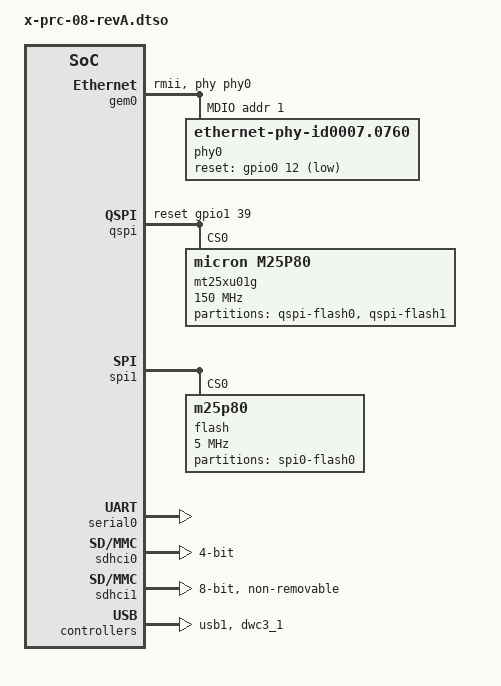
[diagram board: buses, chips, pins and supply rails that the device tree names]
// SPDX-License-Identifier: GPL-2.0
/*
 * dts file for Xilinx ZynqMP VN-P-B2197 (Tenzing2) X-PRC-08 RevA
 *
 * (C) Copyright 2022-2023, Advanced Micro Devices, Inc.
 *
 * Michal Simek <michal.simek@amd.com>
 */

/dts-v1/;
/plugin/;

#include <dt-bindings/gpio/gpio.h>

&{/} {
	model = "X-PRC-08 revA";
};

/* LPD_MIO0-12, mdio LPD_MIO24-25 */
&gem0 {
	status = "okay";
	phy-handle = <&phy0>;
	phy-mode = "rmii";
	mdio1: mdio {
		#address-cells = <1>;
		#size-cells = <0>;

		phy0: ethernet-phy@1 { /* u37 VSC8540 */
			#phy-cells = <1>;
			compatible = "ethernet-phy-id0007.0760";
			reg = <1>;
			reset-gpios = <&gpio0 12 GPIO_ACTIVE_LOW>;
		};
	};
};

/* u1, u2, u3, u4 - 4x MT25QU01GBBBB, PMC_MIO0-5,7-12 */
&qspi {
	status = "okay";
	reset-gpios = <&gpio1 39 GPIO_ACTIVE_HIGH>;
	reset-names = "qspi";
	#address-cells = <1>;
	#size-cells = <0>;
	num-cs = <2>;

	mt25xu01g: flash@0 {
		compatible = "micron,m25p80", "jedec,spi-nor";
		reg = <0>, <1>;
		parallel-memories = /bits/ 64 <0x8000000 0x8000000>; /* (128+128)MB */
		spi-tx-bus-width = <4>;
		spi-rx-bus-width = <4>;
		#address-cells = <1>;
		#size-cells = <1>;
		spi-max-frequency = <150000000>;

		partitions {
			compatible = "fixed-partitions";
			#address-cells = <1>;
			#size-cells = <1>;

			partition@0 {
				label = "qspi-flash0";
				reg = <0 0x8000000>;
			};
			partition@1 {
				label = "qspi-flash1";
				reg = <0x8000000 0x8000000>;
			};
		};
	};
};

/* LPD_MIO18-23 */
&spi1 {
	status = "okay";
	num-cs = <1>; /* Via J16 - 3 chip selects to the same memory */
	#address-cells = <1>;
	#size-cells = <0>;

	flash@0 { /* u35 MX25U3232 */
		compatible = "m25p80";
		spi-max-frequency = <5000000>;
		reg = <0>;

		partitions {
			compatible = "fixed-partitions";
			#address-cells = <1>;
			#size-cells = <1>;
			partition@0 {
				label = "spi0-flash0";
				reg = <0 0x80000>;
			};
		};
	};
};

/* LPD_MIO16-17 */
&serial0 {
	status = "okay";
};

/* PMC_MIO26-36 */
&sdhci0 {
	status = "okay";
	xlnx,mio-bank = <1>;
	bus-width = <4>;
};

/* u36a PMC_MIO40-51 MTFC16GAPALBH */
&sdhci1 {
	status = "okay";
	xlnx,mio-bank = <1>;
	non-removable;
	disable-wp;
	bus-width = <8>;
};

/* u34 - usb3315c - PMC_MIO13-25 */
&usb1 {
	status = "okay";
};

&dwc3_1 {
	status = "okay";
};
